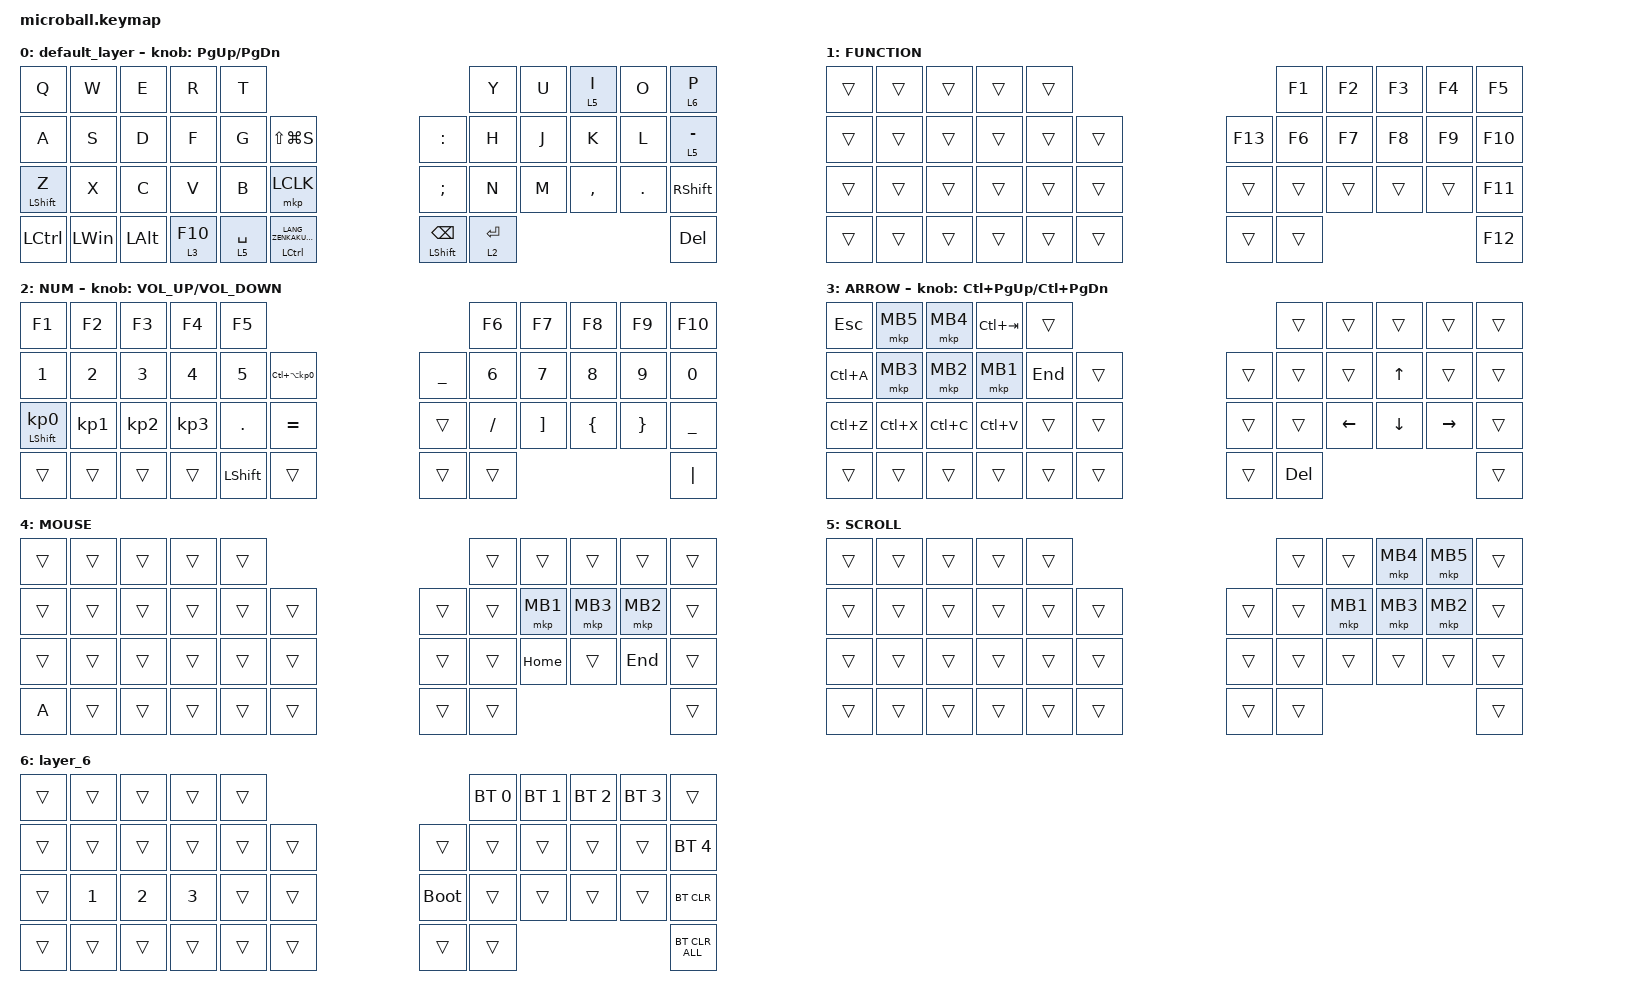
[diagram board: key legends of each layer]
#include <behaviors.dtsi>
#include <dt-bindings/zmk/bt.h>
#include <dt-bindings/zmk/keys.h>
#include <dt-bindings/zmk/pointing.h>

#define MOUSE 4
#define SCROLL 5
#define NUM 6

&mt {
    flavor = "balanced";
    quick-tap-ms = <0>;
};

/ {
    combos {
        compatible = "zmk,combos";

        tab {
            bindings = <&kp TAB>;
            key-positions = <11 12>;
        };

        shift_tab {
            bindings = <&kp LS(TAB)>;
            key-positions = <12 13>;
        };

        double_quotation {
            bindings = <&kp DOUBLE_QUOTES>;
            key-positions = <20 21>;
        };

        eq {
            bindings = <&kp EQUAL>;
            key-positions = <24 25>;
        };

        Fn11 {
            bindings = <&kp F11>;
            key-positions = <41 7 8>;
        };

        Fn12 {
            bindings = <&kp F12>;
            key-positions = <41 8 9>;
        };

        Ctrl+Alt+Del {
            bindings = <&kp LC(LA(DELETE))>;
            key-positions = <0 1 2 3>;
        };

        Bra {
            bindings = <&kp LS(N8)>;
            key-positions = <6 7>;
        };

        Ket {
            bindings = <&kp LS(N9)>;
            key-positions = <7 8>;
        };

        L_bra {
            bindings = <&kp RIGHT_BRACKET>;
            key-positions = <7 6 41>;
        };

        R_bra {
            bindings = <&kp BACKSLASH>;
            key-positions = <41 7 8>;
        };

        Esc {
            bindings = <&kp ESC>;
            key-positions = <0 1>;
        };
    };

    macros {
        new_macro: new_macro {
            compatible = "zmk,behavior-macro";
            #binding-cells = <0>;
            bindings = <&none>;
            label = "NEW_MACRO";
        };
    };

    behaviors {
        lt_to_layer_0: lt_to_layer_0 {
            compatible = "zmk,behavior-hold-tap";
            label = "LAYER_TAP_TO_0";
            bindings = <&mo>, <&to_layer_0>;

            #binding-cells = <2>;
            tapping-term-ms = <200>;
        };

        renzoku_kp: renzoku_kp {
            compatible = "zmk,behavior-tap-dance";
            label = "RENZOKU_KP";
            #binding-cells = <0>;
            bindings = <&kp BACKSPACE>, <&kp BACKSPACE>;

            tapping-term-ms = <150>;
        };

        bracket: bracket {
            compatible = "zmk,behavior-tap-dance";
            label = "BRACKET";
            #binding-cells = <0>;
            bindings = <&kp LS(N8)>, <&kp LS(N9)>, <&kp LEFT_ARROW>;
        };
    };

    keymap {
        compatible = "zmk,keymap";

        default_layer {
            bindings = <
&kp Q             &kp W         &kp E         &kp R      &kp T                                                                            &kp Y        &kp U  &lt 5 I    &kp O    &lt 6 P
&kp A             &kp S         &kp D         &kp F      &kp G        &kp LS(LG(S))                             &kp COLON                 &kp H        &kp J  &kp K      &kp L    &lt 5 MINUS
&mt LEFT_SHIFT Z  &kp X         &kp C         &kp V      &kp B        &mkp LCLK                                 &kp SEMICOLON             &kp N        &kp M  &kp COMMA  &kp DOT  &kp RIGHT_SHIFT
&kp LCTRL         &kp LEFT_WIN  &kp LEFT_ALT  &lt 3 F10  &lt 5 SPACE  &mt LEFT_CONTROL LANG_ZENKAKUHANKAKU      &mt LEFT_SHIFT BACKSPACE  &lt 2 ENTER                             &kp DEL
            >;

            sensor-bindings = <&inc_dec_kp PG_UP PAGE_DOWN>;
        };

        FUNCTION {
            bindings = <
&trans  &trans  &trans  &trans  &trans                       &kp F1  &kp F2  &kp F3  &kp F4  &kp F5
&trans  &trans  &trans  &trans  &trans  &trans      &kp F13  &kp F6  &kp F7  &kp F8  &kp F9  &kp F10
&trans  &trans  &trans  &trans  &trans  &trans      &trans   &trans  &trans  &trans  &trans  &kp F11
&trans  &trans  &trans  &trans  &trans  &trans      &trans   &trans                          &kp F12
            >;
        };

        NUM {
            bindings = <
&kp F1                      &kp F2           &kp F3           &kp F4           &kp F5                                                       &kp F6        &kp F7             &kp F8          &kp F9           &kp F10
&kp NUMBER_1                &kp NUMBER_2     &kp NUMBER_3     &kp NUMBER_4     &kp NUMBER_5    &kp LC(LA(KP_NUMBER_0))      &kp UNDERSCORE  &kp NUMBER_6  &kp NUMBER_7       &kp NUMBER_8    &kp NUMBER_9     &kp NUMBER_0
&mt LEFT_SHIFT KP_NUMBER_0  &kp KP_NUMBER_1  &kp KP_NUMBER_2  &kp KP_NUMBER_3  &kp PERIOD      &kp EQUAL                    &trans          &kp SLASH     &kp RIGHT_BRACKET  &kp LEFT_BRACE  &kp RIGHT_BRACE  &kp UNDERSCORE
&trans                      &trans           &trans           &trans           &kp LEFT_SHIFT  &trans                       &trans          &trans                                                            &kp PIPE
            >;

            sensor-bindings = <&inc_dec_kp C_VOLUME_UP C_VOLUME_DOWN>;
        };

        ARROW {
            bindings = <
&kp ESCAPE  &mkp MB5   &mkp MB4   &kp LC(TAB)  &trans                       &trans      &trans          &trans          &trans           &trans
&kp LC(A)   &mkp MB3   &mkp MB2   &mkp MB1     &kp END  &trans      &trans  &trans      &trans          &kp UP_ARROW    &trans           &trans
&kp LC(Z)   &kp LC(X)  &kp LC(C)  &kp LC(V)    &trans   &trans      &trans  &trans      &kp LEFT_ARROW  &kp DOWN_ARROW  &kp RIGHT_ARROW  &trans
&trans      &trans     &trans     &trans       &trans   &trans      &trans  &kp DELETE                                                   &trans
            >;

            sensor-bindings = <&inc_dec_kp LC(PAGE_UP) LC(PAGE_DOWN)>;
        };

        MOUSE {
            bindings = <
&trans  &trans  &trans  &trans  &trans                      &trans  &trans    &trans    &trans    &trans
&trans  &trans  &trans  &trans  &trans  &trans      &trans  &trans  &mkp MB1  &mkp MB3  &mkp MB2  &trans
&trans  &trans  &trans  &trans  &trans  &trans      &trans  &trans  &kp HOME  &trans    &kp END   &trans
&kp A   &trans  &trans  &trans  &trans  &trans      &trans  &trans                                &trans
            >;
        };

        SCROLL {
            bindings = <
&trans  &trans  &trans  &trans  &trans                      &trans  &trans    &mkp MB4  &mkp MB5  &trans
&trans  &trans  &trans  &trans  &trans  &trans      &trans  &trans  &mkp MB1  &mkp MB3  &mkp MB2  &trans
&trans  &trans  &trans  &trans  &trans  &trans      &trans  &trans  &trans    &trans    &trans    &trans
&trans  &trans  &trans  &trans  &trans  &trans      &trans  &trans                                &trans
            >;
        };

        layer_6 {
            bindings = <
&trans  &trans        &trans        &trans        &trans                           &bt BT_SEL 0  &bt BT_SEL 1  &bt BT_SEL 2  &bt BT_SEL 3  &trans
&trans  &trans        &trans        &trans        &trans  &trans      &trans       &trans        &trans        &trans        &trans        &bt BT_SEL 4
&trans  &kp NUMBER_1  &kp NUMBER_2  &kp NUMBER_3  &trans  &trans      &bootloader  &trans        &trans        &trans        &trans        &bt BT_CLR
&trans  &trans        &trans        &trans        &trans  &trans      &trans       &trans                                                  &bt BT_CLR_ALL
            >;
        };
    };
};
